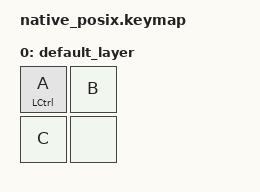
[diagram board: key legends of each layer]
#include <dt-bindings/zmk/keys.h>
#include <behaviors.dtsi>
#include <dt-bindings/zmk/kscan-mock.h>

&mt {
	flavor = "hold-preferred";
};

/* this test checks if hold-taps can be part of a combo */
/ {
	behaviors {
		combo_two {
			compatible = "zmk,behavior-combo";
			label = "COMBO_TWO";
			timeout-ms = <100>;
			key-positions = <0 1>;
			bindings = <&kp Y>;
		};
	};

	keymap {
		compatible = "zmk,keymap";
		label ="Default keymap";

		default_layer {
			bindings = <
				&mt LEFT_CONTROL A &kp B
				&kp C &none
			>;
		};
	};
};

&kscan {
	events = <
		ZMK_MOCK_PRESS(0,0,10) 
		ZMK_MOCK_PRESS(0,1,10) 
		ZMK_MOCK_PRESS(0,2,10) 
		ZMK_MOCK_RELEASE(0,0,10) 
		ZMK_MOCK_RELEASE(0,1,10) 
		ZMK_MOCK_RELEASE(0,2,10)
	>;
};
